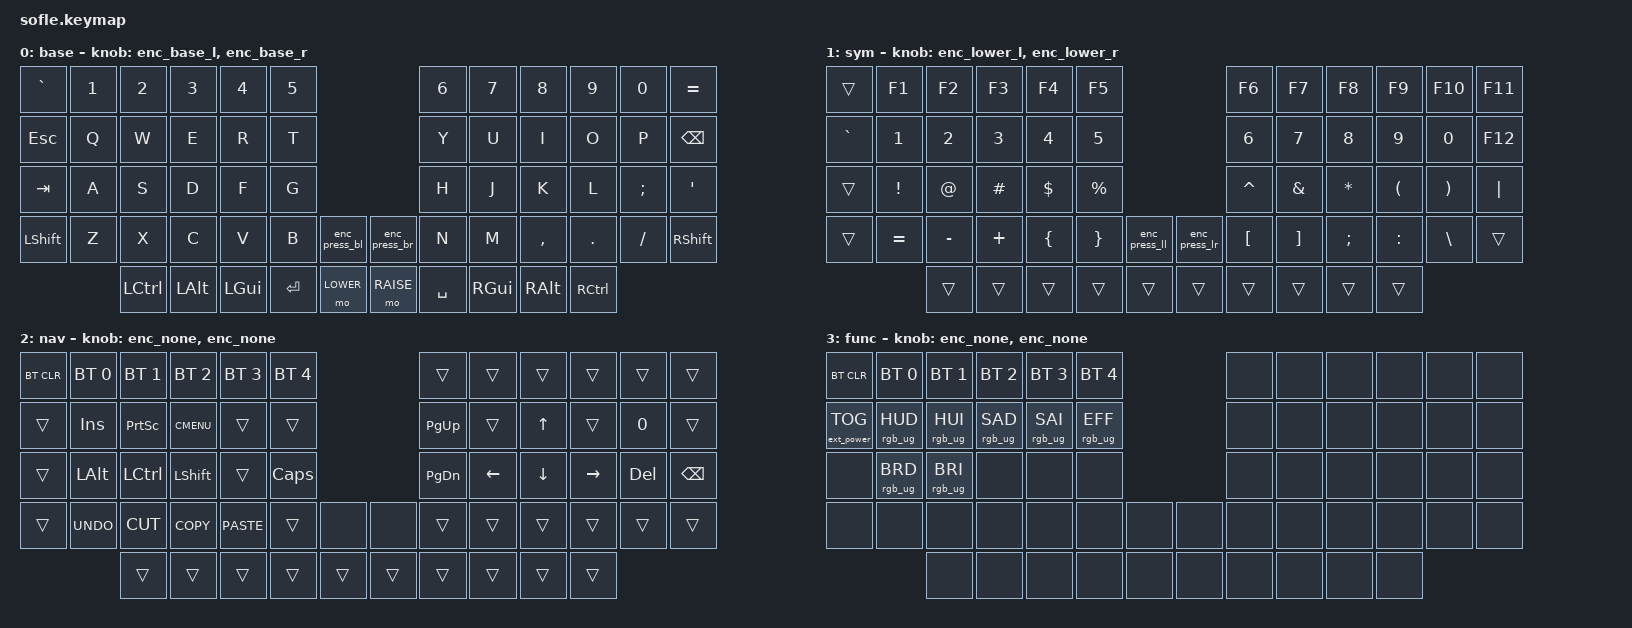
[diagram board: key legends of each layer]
/*
 * Copyright (c) 2020 The ZMK Contributors
 *
 * SPDX-License-Identifier: MIT
 */

#include <behaviors.dtsi>
#include <dt-bindings/zmk/bt.h>
#include <dt-bindings/zmk/ext_power.h>
#include <dt-bindings/zmk/keys.h>
#include <dt-bindings/zmk/rgb.h>

#define BASE 0
#define LOWER 1
#define RAISE 2
#define ADJUST 3

/ {
    // Activate ADJUST layer by pressing raise and lower

    conditional_layers {
        compatible = "zmk,conditional-layers";

        adjust_layer {
            if-layers = <LOWER RAISE>;
            then-layer = <ADJUST>;
        };
    };

    macros {
        // WIN+SHIFT chord, then tap [ (decrease panel width)

        macro_ws_lbkt: macro_ws_lbkt {
            compatible = "zmk,behavior-macro";
            #binding-cells = <0>;
            wait-ms = <30>;
            tap-ms = <30>;
            bindings =
                <&macro_press>,
                <&kp LGUI &kp LSHFT>,
                <&macro_release>,
                <&kp LGUI &kp LSHFT>,
                <&macro_tap>,
                <&kp LBKT>;
        };

        // WIN+SHIFT chord, then tap ] (increase panel width)

        macro_ws_rbkt: macro_ws_rbkt {
            compatible = "zmk,behavior-macro";
            #binding-cells = <0>;
            wait-ms = <30>;
            tap-ms = <30>;
            bindings =
                <&macro_press>,
                <&kp LGUI &kp LSHFT>,
                <&macro_release>,
                <&kp LGUI &kp LSHFT>,
                <&macro_tap>,
                <&kp RBKT>;
        };

        // WIN+SHIFT chord, then tap ' (decrease panel height)

        macro_ws_sqt: macro_ws_sqt {
            compatible = "zmk,behavior-macro";
            #binding-cells = <0>;
            wait-ms = <30>;
            tap-ms = <30>;
            bindings =
                <&macro_press>,
                <&kp LGUI &kp LSHFT>,
                <&macro_release>,
                <&kp LGUI &kp LSHFT>,
                <&macro_tap>,
                <&kp SQT>;
        };

        // WIN+SHIFT chord, then tap ; (increase panel height)

        macro_ws_semi: macro_ws_semi {
            compatible = "zmk,behavior-macro";
            #binding-cells = <0>;
            wait-ms = <30>;
            tap-ms = <30>;
            bindings =
                <&macro_press>,
                <&kp LGUI &kp LSHFT>,
                <&macro_release>,
                <&kp LGUI &kp LSHFT>,
                <&macro_tap>,
                <&kp SEMI>;
        };
    };

    behaviors {
        // --- Encoder press mod-morphs ---
        // Base left press: CTRL+ALT+F2 (mute mic) / SHIFT: WIN+` (terminal)

        enc_press_bl: enc_press_bl {
            compatible = "zmk,behavior-mod-morph";
            #binding-cells = <0>;
            bindings = <&kp LC(LA(F2))>, <&kp LG(GRAVE)>;

            mods = <(MOD_LSFT|MOD_RSFT)>;
        };

        // Base right press: CTRL+ALT+P (play/pause) / SHIFT: WIN+` (terminal)

        enc_press_br: enc_press_br {
            compatible = "zmk,behavior-mod-morph";
            #binding-cells = <0>;
            bindings = <&kp LC(LA(P))>, <&kp LG(GRAVE)>;

            mods = <(MOD_LSFT|MOD_RSFT)>;
        };

        // Lower left press: CTRL+F (find) / SHIFT: none

        enc_press_ll: enc_press_ll {
            compatible = "zmk,behavior-mod-morph";
            #binding-cells = <0>;
            bindings = <&kp LC(F)>, <&none>;

            mods = <(MOD_LSFT|MOD_RSFT)>;
        };

        // Lower right press: F5 (debug/continue) / SHIFT: none

        enc_press_lr: enc_press_lr {
            compatible = "zmk,behavior-mod-morph";
            #binding-cells = <0>;
            bindings = <&kp F5>, <&none>;

            mods = <(MOD_LSFT|MOD_RSFT)>;
        };

        // --- Encoder rotation mod-morphs ---
        // Base left CCW: CTRL+WIN+LEFT (prev workspace) / SHIFT: WIN+SHIFT,[

        enc_rot_bl_ccw: enc_rot_bl_ccw {
            compatible = "zmk,behavior-mod-morph";
            #binding-cells = <0>;
            bindings = <&kp LC(LG(LEFT))>, <&macro_ws_lbkt>;

            mods = <(MOD_LSFT|MOD_RSFT)>;
        };

        // Base left CW: CTRL+WIN+RIGHT (next workspace) / SHIFT: WIN+SHIFT,]

        enc_rot_bl_cw: enc_rot_bl_cw {
            compatible = "zmk,behavior-mod-morph";
            #binding-cells = <0>;
            bindings = <&kp LC(LG(RIGHT))>, <&macro_ws_rbkt>;

            mods = <(MOD_LSFT|MOD_RSFT)>;
        };

        // Base right CCW: WIN+CTRL+ALT+DOWN (vol down 5%) / SHIFT: WIN+SHIFT,'

        enc_rot_br_ccw: enc_rot_br_ccw {
            compatible = "zmk,behavior-mod-morph";
            #binding-cells = <0>;
            bindings = <&kp LG(LC(LA(DOWN)))>, <&macro_ws_sqt>;

            mods = <(MOD_LSFT|MOD_RSFT)>;
        };

        // Base right CW: WIN+CTRL+ALT+UP (vol up 5%) / SHIFT: WIN+SHIFT,;

        enc_rot_br_cw: enc_rot_br_cw {
            compatible = "zmk,behavior-mod-morph";
            #binding-cells = <0>;
            bindings = <&kp LG(LC(LA(UP)))>, <&macro_ws_semi>;

            mods = <(MOD_LSFT|MOD_RSFT)>;
        };

        // Lower left CCW: SHIFT+F3 (find prev) / SHIFT: SHIFT+F8 (prev breakpoint)

        enc_rot_ll_ccw: enc_rot_ll_ccw {
            compatible = "zmk,behavior-mod-morph";
            #binding-cells = <0>;
            bindings = <&kp LS(F3)>, <&kp LS(F8)>;

            mods = <(MOD_LSFT|MOD_RSFT)>;
        };

        // Lower left CW: F3 (find next) / SHIFT: F8 (next breakpoint)

        enc_rot_ll_cw: enc_rot_ll_cw {
            compatible = "zmk,behavior-mod-morph";
            #binding-cells = <0>;
            bindings = <&kp F3>, <&kp F8>;

            mods = <(MOD_LSFT|MOD_RSFT)>;
        };

        // Lower right CW: F10 (step over) / SHIFT: F11 (step into)

        enc_rot_lr_cw: enc_rot_lr_cw {
            compatible = "zmk,behavior-mod-morph";
            #binding-cells = <0>;
            bindings = <&kp F10>, <&kp F11>;

            mods = <(MOD_LSFT|MOD_RSFT)>;
        };

        // --- Sensor-rotate behaviors ---
        // Base layer left encoder rotation

        enc_base_l: enc_base_l {
            compatible = "zmk,behavior-sensor-rotate";
            #sensor-binding-cells = <0>;
            bindings = <&enc_rot_bl_ccw>, <&enc_rot_bl_cw>;
        };

        // Base layer right encoder rotation

        enc_base_r: enc_base_r {
            compatible = "zmk,behavior-sensor-rotate";
            #sensor-binding-cells = <0>;
            bindings = <&enc_rot_br_ccw>, <&enc_rot_br_cw>;
        };

        // Lower layer left encoder rotation

        enc_lower_l: enc_lower_l {
            compatible = "zmk,behavior-sensor-rotate";
            #sensor-binding-cells = <0>;
            bindings = <&enc_rot_ll_ccw>, <&enc_rot_ll_cw>;
        };

        // Lower layer right encoder rotation (CCW: none, CW: mod-morph)

        enc_lower_r: enc_lower_r {
            compatible = "zmk,behavior-sensor-rotate";
            #sensor-binding-cells = <0>;
            bindings = <&none>, <&enc_rot_lr_cw>;
        };

        // No-op encoder rotation (for Raise/Adjust layers)

        enc_none: enc_none {
            compatible = "zmk,behavior-sensor-rotate";
            #sensor-binding-cells = <0>;
            bindings = <&none>, <&none>;
        };
    };

    keymap {
        compatible = "zmk,keymap";

        base {
            display-name = "base";

            // ------------------------------------------------------------------------------------------------------------
            // |   `   |  1  |  2  |  3   |  4   |  5   |                   |  6   |  7    |  8    |  9   |   0   |   =   |
            // |  ESC  |  Q  |  W  |  E   |  R   |  T   |                   |  Y   |  U    |  I    |  O   |   P   | BKSPC |
            // |  TAB  |  A  |  S  |  D   |  F   |  G   |                   |  H   |  J    |  K    |  L   |   ;   |   '   |
            // | SHIFT |  Z  |  X  |  C   |  V   |  B   |  L-ENC |  | R-ENC |  N   |  M    |  ,    |  .   |   /   | SHIFT |
            //               | CTRL | ALT  | GUI | LOWER|  ENTER |  | SPACE | RAISE| GUI  | ALT   | CTRL  |

            bindings = <
&kp GRAVE  &kp N1  &kp N2     &kp N3    &kp N4    &kp N5                                   &kp N6     &kp N7    &kp N8     &kp N9     &kp N0    &kp EQUAL
&kp ESC    &kp Q   &kp W      &kp E     &kp R     &kp T                                    &kp Y      &kp U     &kp I      &kp O      &kp P     &kp BSPC
&kp TAB    &kp A   &kp S      &kp D     &kp F     &kp G                                    &kp H      &kp J     &kp K      &kp L      &kp SEMI  &kp SQT
&kp LSHFT  &kp Z   &kp X      &kp C     &kp V     &kp B    &enc_press_bl    &enc_press_br  &kp N      &kp M     &kp COMMA  &kp DOT    &kp FSLH  &kp RSHFT
                   &kp LCTRL  &kp LALT  &kp LGUI  &kp RET  &mo LOWER        &mo RAISE      &kp SPACE  &kp RGUI  &kp RALT   &kp RCTRL
            >;

            sensor-bindings = <&enc_base_l &enc_base_r>;
        };

        symbols {
            display-name = "sym";

            // TODO: Some binds are waiting for shifted keycode support.
            // ------------------------------------------------------------------------------------------------------------
            // |       |  F1 |  F2 |  F3  |  F4  |  F5  |                   |  F6  |  F7   |  F8   |  F9  |  F10  |  F11  |
            // |   `   |  1  |  2  |  3   |  4   |  5   |                   |  6   |  7    |  8    |  9   |   0   |  F12  |
            // |       |  !  |  @  |  #   |  $   |  %   |                   |  ^   |  &    |  *    |  (   |   )   |   |   |
            // |       |  =  |  -  |  +   |  {   |  }   |  L-ENC |  | R-ENC |  [   |  ]    |  ;    |  :   |   \   |       |
            //               |     |      |      |      |        |  |       |      |       |       |      |

            bindings = <
&trans     &kp F1     &kp F2     &kp F3    &kp F4    &kp F5                                     &kp F6     &kp F7    &kp F8     &kp F9     &kp F10   &kp F11
&kp GRAVE  &kp N1     &kp N2     &kp N3    &kp N4    &kp N5                                     &kp N6     &kp N7    &kp N8     &kp N9     &kp N0    &kp F12
&trans     &kp EXCL   &kp AT     &kp HASH  &kp DLLR  &kp PRCNT                                  &kp CARET  &kp AMPS  &kp ASTRK  &kp LPAR   &kp RPAR  &kp PIPE
&trans     &kp EQUAL  &kp MINUS  &kp PLUS  &kp LBRC  &kp RBRC   &enc_press_ll    &enc_press_lr  &kp LBKT   &kp RBKT  &kp SEMI   &kp COLON  &kp BSLH  &trans
                      &trans     &trans    &trans    &trans     &trans           &trans         &trans     &trans    &trans     &trans
            >;

            sensor-bindings = <&enc_lower_l &enc_lower_r>;
        };

        navigation {
            display-name = "nav";

            // ------------------------------------------------------------------------------------------------------------
            // | BTCLR | BT1  | BT2  |  BT3  |  BT4  |  BT5 |                |      |      |       |      |       |       |
            // |       | INS  | PSCR | GUI   |       |      |                | PGUP |      |   ^   |      |       |       |
            // |       | ALT  | CTRL | SHIFT |       | CAPS |                | PGDN |   <- |   v   |  ->  |  DEL  | BKSPC |
            // |       | UNDO | CUT  | COPY  | PASTE |      |      |  |      |      |      |       |      |       |       |
            //                |      |       |       |      |      |  |      |      |      |       |      |

            bindings = <
&bt BT_CLR  &bt BT_SEL 0  &bt BT_SEL 1  &bt BT_SEL 2  &bt BT_SEL 3  &bt BT_SEL 4                    &trans     &trans    &trans    &trans     &trans   &trans
&trans      &kp INS       &kp PSCRN     &kp K_CMENU   &trans        &trans                          &kp PG_UP  &trans    &kp UP    &trans     &kp N0   &trans
&trans      &kp LALT      &kp LCTRL     &kp LSHFT     &trans        &kp CLCK                        &kp PG_DN  &kp LEFT  &kp DOWN  &kp RIGHT  &kp DEL  &kp BSPC
&trans      &kp K_UNDO    &kp K_CUT     &kp K_COPY    &kp K_PASTE   &trans        &none     &none   &trans     &trans    &trans    &trans     &trans   &trans
                          &trans        &trans        &trans        &trans        &trans    &trans  &trans     &trans    &trans    &trans
            >;

            sensor-bindings = <&enc_none &enc_none>;
        };

        functions {
            // ----------------------------------------------------------------------------------------------------------------------------
            // | BTCLR  |  BT1    |  BT2    |   BT3   |   BT4   |   BT5   |                  |      |      |       |      |       |       |
            // | EXTPWR | RGB_HUD | RGB_HUI | RGB_SAD | RGB_SAI | RGB_EFF |                  |      |      |       |      |       |       |
            // |        | RGB_BRD | RGB_BRI |         |         |         |                  |      |      |       |      |       |       |
            // |        |         |         |         |         |         |        | |       |      |      |       |      |       |       |
            //                    |         |         |         |         |        | |       |      |      |       |      |

            display-name = "func";
            bindings = <
&bt BT_CLR         &bt BT_SEL 0     &bt BT_SEL 1     &bt BT_SEL 2     &bt BT_SEL 3     &bt BT_SEL 4                     &none  &none  &none  &none  &none  &none
&ext_power EP_TOG  &rgb_ug RGB_HUD  &rgb_ug RGB_HUI  &rgb_ug RGB_SAD  &rgb_ug RGB_SAI  &rgb_ug RGB_EFF                  &none  &none  &none  &none  &none  &none
&none              &rgb_ug RGB_BRD  &rgb_ug RGB_BRI  &none            &none            &none                            &none  &none  &none  &none  &none  &none
&none              &none            &none            &none            &none            &none            &none    &none  &none  &none  &none  &none  &none  &none
                                    &none            &none            &none            &none            &none    &none  &none  &none  &none  &none
            >;

            sensor-bindings = <&enc_none &enc_none>;
        };
    };
};
